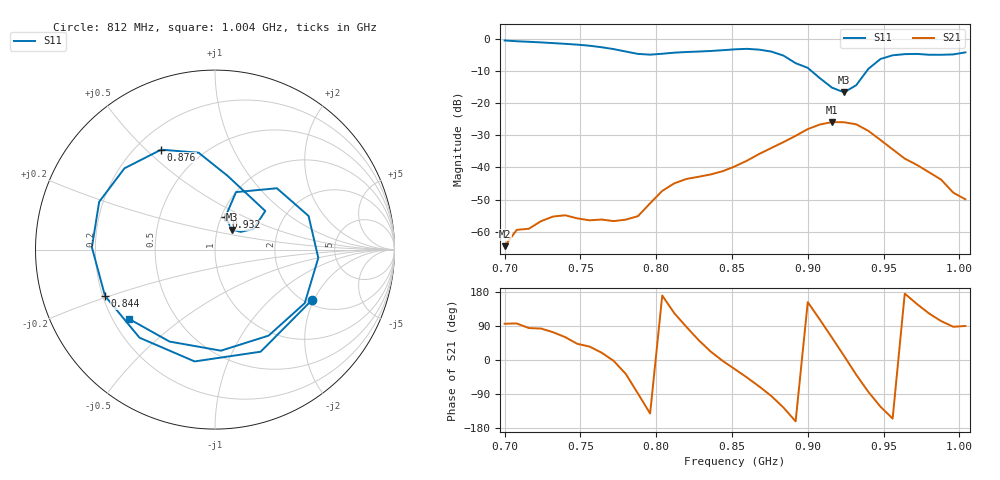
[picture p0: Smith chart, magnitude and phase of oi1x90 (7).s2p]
# Hz S RI R 50
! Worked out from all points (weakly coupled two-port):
!   39 points, 700 MHz to 1.004 GHz, reference 50 ohm
!   highest |S21| = -25.91 dB at 916 MHz (marker M1); lowest = -64.5 dB at 700 MHz (marker M2)
!   lowest |S11| = -16.7 dB at 924 MHz (marker M3), VSWR 1.34, Z = 58.9 + j13.5 ohm
!   |S11| at or under -10 dB: 902.4 MHz to 939 MHz (36.57 MHz wide, 3.97 % of centre)
!   S12 and S22 are empty: the file has one direction only
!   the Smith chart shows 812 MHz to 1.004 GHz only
!   S11 on the Smith chart (normalised r, x): 812 MHz: 2.16, -1.93; 844 MHz: 0.21, -0.19; 876 MHz: 0.30, +0.56; 932 MHz: 1.05, +0.39; 1.004 GHz: 0.27, -0.33
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7e8  0.7619 0.5547  -5.95e-05 0.000591  0 0  0 0
7.24e8  0.8448 -0.2428  0.000177 0.00144  0 0  0 0
7.4e8  0.4574 -0.6992  0.00089 0.00156  0 0  0 0
7.56e8  -0.1888 -0.7573  0.00122 0.000873  0 0  0 0
7.72e8  -0.6613 -0.2011  0.00146 -6.33e-05  0 0  0 0
7.8e8  -0.5924 0.2229  0.00123 -0.000926  0 0  0 0
7.88e8  -0.2447 0.5284  3.81e-05 -0.00174  0 0  0 0
7.96e8  0.2389 0.5138  -0.00215 -0.00173  0 0  0 0
8.04e8  0.5616 0.1648  -0.00424 0.000732  0 0  0 0
8.12e8  0.5398 -0.2815  -0.00309 0.00473  0 0  0 0
8.28e8  -0.1135 -0.6231  0.00436 0.00566  0 0  0 0
8.44e8  -0.6128 -0.2582  0.00872 -0.000422  0 0  0 0
8.52e8  -0.6859 0.0126  0.00944 -0.00429  0 0  0 0
8.76e8  -0.3001 0.5568  -0.0018 -0.02  0 0  0 0
9e8  0.2801 0.2153  -0.035 0.018  0 0  0 0
9.08e8  0.2151 0.115  -0.0131 0.0445  0 0  0 0
9.16e8  0.1428 0.0988  0.0262 0.0434  0 0  0 0
9.24e8  0.0951 0.1119  0.0495 0.0091  0 0  0 0
9.32e8  0.0575 0.1812  0.0363 -0.0294  0 0  0 0
9.56e8  0.5213 0.1874  -0.0172 -0.0082  0 0  0 0
9.8e8  0.2989 -0.4793  -0.00456 0.00705  0 0  0 0
1.004e9  -0.4788 -0.3862  1.06e-05 0.00319  0 0  0 0
